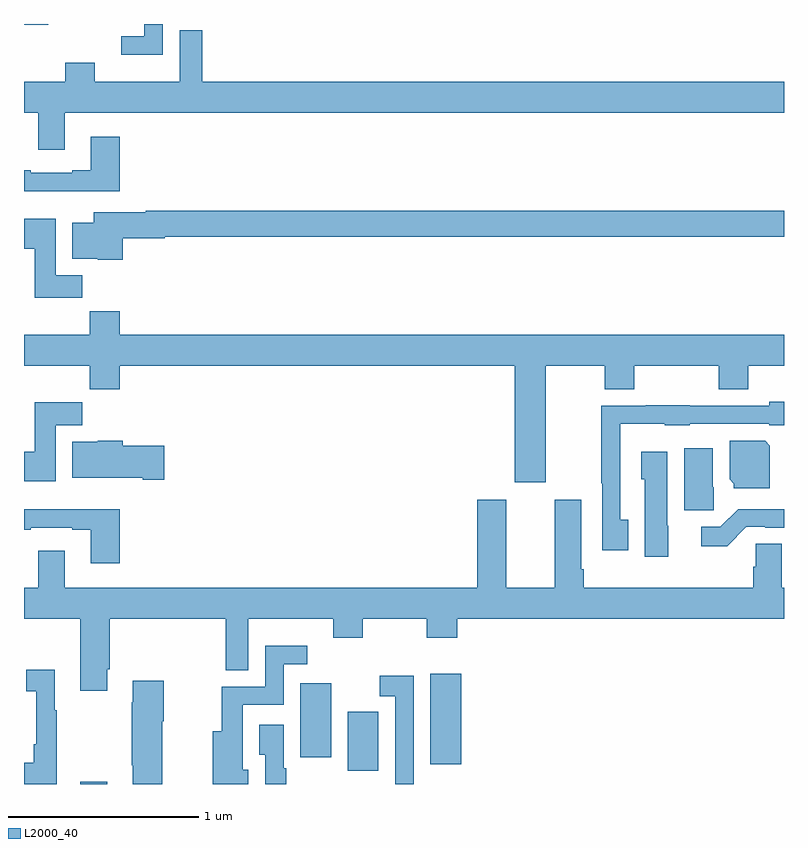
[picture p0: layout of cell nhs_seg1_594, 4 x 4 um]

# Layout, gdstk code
import gdstk
lib = gdstk.Library(unit=1e-6, precision=1e-09)
def R(c, l, rs):  # rectangles x0, y0, x1, y1
    for r in rs: c.add(gdstk.rectangle(r[:2], r[2:], *l))
def P(c, l, *ps):  # polygons
    for p in ps: c.add(gdstk.Polygon(p, *l))
L2000_40 = (2000, 40)

nhs_seg1_594 = lib.new_cell('nhs_seg1_594')
R(nhs_seg1_594, L2000_40, [(143.297,548.199,143.437,548.212), (144.704,548.269,144.865,548.58), (145.139,548.304,145.3,548.779), (144.455,548.339,144.616,548.728), (143,552.195,143.128,552.199)])
P(nhs_seg1_594, L2000_40, [(143.73,552.199),(143.634,552.199),(143.634,552.135),(143.511,552.135),(143.511,552.038),(143.73,552.038)],
  [(143.215,551.732),(147,551.732),(147,551.896),(143.938,551.896),(143.938,552.167),(143.819,552.167),(143.819,551.896),(143.373,551.896),(143.373,551.995),(143.218,551.995),(143.218,551.896),(143,551.896),(143,551.732),(143.075,551.732),(143.075,551.538),(143.215,551.538)],
  [(143.504,551.605),(143.351,551.605),(143.351,551.428),(143.255,551.428),(143.255,551.415),(143.035,551.415),(143.035,551.428),(143,551.428),(143,551.318),(143.504,551.318)],
  [(143.519,551.072),(143.742,551.072),(143.742,551.08),(147,551.08),(147,551.216),(143.642,551.216),(143.642,551.209),(143.366,551.209),(143.366,551.152),(143.255,551.152),(143.255,550.964),(143.388,550.964),(143.388,550.958),(143.519,550.958)],
  [(143.306,550.876),(143.167,550.876),(143.167,551.173),(143,551.173),(143,551.017),(143.057,551.017),(143.057,550.758),(143.306,550.758)],
  [(145.747,550.4),(146.056,550.4),(146.056,550.276),(146.211,550.276),(146.211,550.4),(146.656,550.4),(146.656,550.276),(146.811,550.276),(146.811,550.4),(147,550.4),(147,550.564),(143.504,550.564),(143.504,550.688),(143.347,550.688),(143.347,550.564),(143,550.564),(143,550.4),(143.347,550.4),(143.347,550.276),(143.504,550.276),(143.504,550.4),(145.583,550.4),(145.583,549.786),(145.747,549.786)],
  [(146.179,549.59),(146.139,549.59),(146.139,550.094),(146.373,550.094),(146.373,550.088),(146.505,550.088),(146.505,550.095),(146.922,550.095),(146.922,550.088),(147,550.088),(147,550.21),(146.922,550.21),(146.922,550.191),(146.505,550.191),(146.505,550.193),(146.273,550.193),(146.273,550.191),(146.038,550.191),(146.038,549.781),(146.043,549.781),(146.043,549.429),(146.179,549.429)],
  [(143.167,550.088),(143.306,550.088),(143.306,550.207),(143.057,550.207),(143.057,549.948),(143,549.948),(143,549.792),(143.167,549.792)],
  [(143.737,549.978),(143.519,549.978),(143.519,550.006),(143.388,550.006),(143.388,550),(143.255,550),(143.255,549.812),(143.624,549.812),(143.624,549.8),(143.737,549.8)],
  [(146.926,549.98),(146.9,550.006),(146.714,550.006),(146.714,549.802),(146.736,549.78),(146.736,549.755),(146.926,549.755)],
  [(146.63,549.762),(146.626,549.762),(146.626,549.967),(146.474,549.967),(146.474,549.639),(146.63,549.639)],
  [(146.392,549.558),(146.386,549.558),(146.386,549.949),(146.249,549.949),(146.249,549.804),(146.267,549.804),(146.267,549.396),(146.392,549.396)],
  [(143.215,549.427),(143.075,549.427),(143.075,549.232),(143,549.232),(143,549.068),(143.297,549.068),(143.297,548.691),(143.437,548.691),(143.437,548.803),(143.45,548.803),(143.45,549.068),(144.063,549.068),(144.063,548.797),(144.181,548.797),(144.181,549.068),(144.628,549.068),(144.628,548.969),(144.783,548.969),(144.783,549.068),(145.12,549.068),(145.12,548.969),(145.28,548.969),(145.28,549.068),(147,549.068),(147,549.232),(146.989,549.232),(146.989,549.464),(146.85,549.464),(146.85,549.342),(146.837,549.342),(146.837,549.232),(145.946,549.232),(145.946,549.328),(145.933,549.328),(145.933,549.694),(145.793,549.694),(145.793,549.232),(145.537,549.232),(145.537,549.694),(145.385,549.694),(145.385,549.232),(143.215,549.232)],
  [(146.802,549.552),(146.902,549.552),(146.902,549.549),(147,549.549),(147,549.646),(146.758,549.646),(146.664,549.552),(146.565,549.552),(146.565,549.45),(146.7,549.45)],
  [(143.504,549.646),(143,549.646),(143,549.537),(143.035,549.537),(143.035,549.549),(143.255,549.549),(143.255,549.537),(143.351,549.537),(143.351,549.36),(143.504,549.36)],
  [(144.181,548.275),(144.151,548.275),(144.151,548.616),(144.366,548.616),(144.366,548.829),(144.49,548.829),(144.49,548.926),(144.27,548.926),(144.27,548.712),(144.04,548.712),(144.04,548.476),(143.993,548.476),(143.993,548.199),(144.181,548.199)],
  [(143.173,548.587),(143.161,548.587),(143.161,548.8),(143.013,548.8),(143.013,548.687),(143.064,548.687),(143.064,548.407),(143.052,548.407),(143.052,548.311),(143,548.311),(143,548.199),(143.173,548.199)],
  [(145.05,548.77),(144.873,548.77),(144.873,548.661),(144.954,548.661),(144.954,548.199),(145.05,548.199)],
  [(143.728,548.53),(143.736,548.53),(143.736,548.743),(143.573,548.743),(143.573,548.63),(143.566,548.63),(143.566,548.299),(143.573,548.299),(143.573,548.199),(143.728,548.199)],
  [(144.379,548.281),(144.366,548.281),(144.366,548.512),(144.239,548.512),(144.239,548.353),(144.27,548.353),(144.27,548.199),(144.379,548.199)])

lib.write_gds('nhs_seg1_594.gds')
